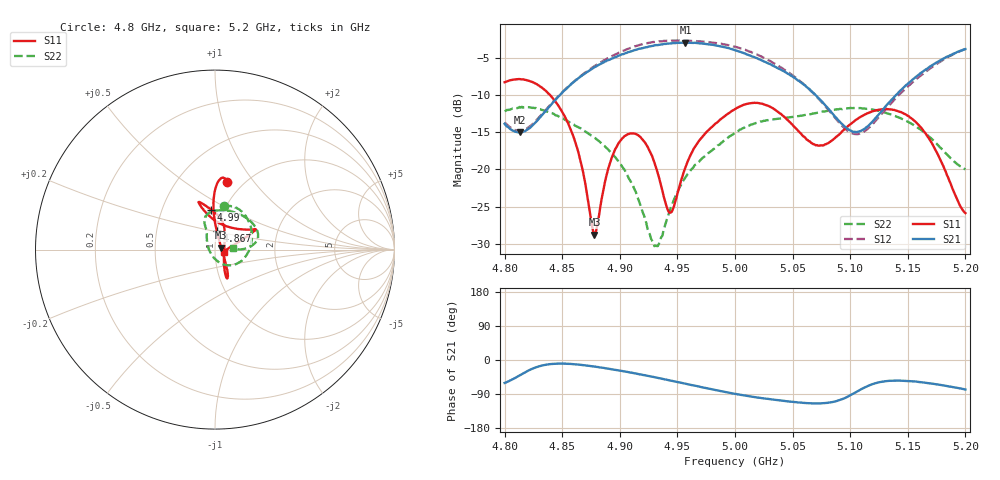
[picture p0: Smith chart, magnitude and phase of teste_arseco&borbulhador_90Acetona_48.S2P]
! Network Analyzer HP8722D
! Hewlett-Packard
! Data name: Linha & Wilkinson
! Saver's name: Rodrigo Anjos
! Comments: Teste da utilização de aquisição
! continua pelo VNA HP8722D
! Time and date: 17/4/2025 11:27
!  Frequency  S11  S21  S12  S22
# HZ  S  MA R 50
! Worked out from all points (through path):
!   401 points, 4.8 GHz to 5.2 GHz, reference 50 ohm
!   highest |S21| = -2.97 dB at 4.957 GHz (marker M1); lowest = -15.0 dB at 4.813 GHz (marker M2)
!   lowest |S11| = -28.8 dB at 4.878 GHz (marker M3), VSWR 1.08, Z = 53.6 + j1.18 ohm
!   |S11| at or under -10 dB: 4.839 GHz to end of sweep
!   |S22| runs from -30.3 to -11.6 dB; largest |S21 - S12| = 1.4
!   S11 on the Smith chart (normalised r, x): 4.8 GHz: 0.84, +0.75; 4.867 GHz: 1.00, +0.21; 4.99 GHz: 0.87, +0.41; 5.2 GHz: 1.10, -0.03
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4.8e9  0.3847 79.8  0.2022 -60.6  0.2069 74.2  0.2457 78.5
4.813e9  0.4039 83.7  0.1769 -40.7  0.1814 92.8  0.2625 67.3
4.845e9  0.2793 91.6  0.2981 -9.7  0.3005 123.0  0.2302 28.1
4.858e9  0.1803 91.2  0.3752 -10.5  0.3759 124.1  0.2041 9.3
4.867e9  0.1049 84.6  0.4252 -13.2  0.4283 123.4  0.1858 -4.2
4.878e9  0.03648 17.5  0.4851 -17.4  0.4937 121.0  0.1632 -20.9
4.892e9  0.1132 -56.1  0.549 -23.8  0.5707 116.6  0.1308 -41.1
4.904e9  0.1669 -64.6  0.5978 -30.2  0.6295 111.6  0.09966 -57.7
4.92e9  0.1579 -67.7  0.6517 -39.4  0.6952 102.9  0.0512 -90.8
4.929e9  0.1171 -63.8  0.6752 -44.6  0.7168 97.5  0.03244 -136.1
4.934e9  0.08833 -55.7  0.6858 -47.9  0.7255 94.0  0.03169 -174.6
4.944e9  0.05125 -0.6  0.7015 -54.2  0.7294 87.7  0.05463 141.9
4.957e9  0.1034 58.3  0.7104 -62.5  0.7314 79.4  0.08842 121.6
4.969e9  0.1564 73.7  0.7018 -70.2  0.7243 71.7  0.113 114.5
4.99e9  0.224 95.6  0.664 -83.5  0.6928 57.9  0.1548 111.8
5e9  0.2538 103.0  0.631 -89.4  0.6672 51.6  0.1765 109.8
5.03e9  0.2643 108.7  0.5105 -103.4  0.5364 35.2  0.2147 92.3
5.067e9  0.1493 80.8  0.3316 -114.4  0.3309 26.3  0.2362 59.5
5.104e9  0.2118 31.8  0.1788 -86.6  0.1727 57.5  0.258 26.6
5.134e9  0.2529 25.9  0.2824 -54.9  0.2697 91.1  0.2359 11.3
5.164e9  0.1797 21.5  0.4589 -59.5  0.4439 88.4  0.1776 2.7
5.2e9  0.05087 -17.0  0.6421 -77.8  0.6443 71.4  0.1 4.8
